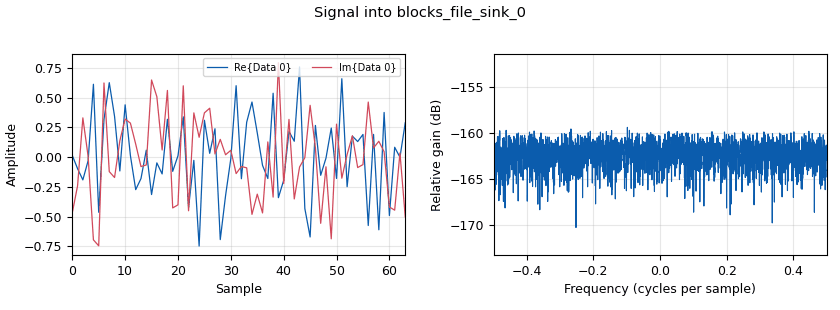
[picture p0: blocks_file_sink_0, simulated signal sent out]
<?xml version='1.0' encoding='utf-8'?>
<?grc format='1' created='3.7.13'?>
<flow_graph>
<block>
<key>options</key>
<param><key>id</key><value>generate_waveform_noise</value></param>
<param><key>generate_options</key><value>no_gui</value></param>
<param><key>run_options</key><value>run</value></param>
</block>
<block>
<key>variable</key>
<param><key>id</key><value>OFF</value></param>
<param><key>value</key><value>15*ON</value></param>
</block>
<block>
<key>variable</key>
<param><key>id</key><value>OFF_time</value></param>
<param><key>value</key><value>OFF/samp_rate</value></param>
</block>
<block>
<key>variable</key>
<param><key>id</key><value>ON</value></param>
<param><key>value</key><value>4096</value></param>
</block>
<block>
<key>variable</key>
<param><key>id</key><value>ON_time</value></param>
<param><key>value</key><value>ON/samp_rate</value></param>
</block>
<block>
<key>variable</key>
<param><key>id</key><value>duty_cycle</value></param>
<param><key>value</key><value>OFF/ON</value></param>
</block>
<block>
<key>variable</key>
<param><key>id</key><value>head</value></param>
<param><key>value</key><value>4096*16</value></param>
</block>
<block>
<key>variable</key>
<param><key>id</key><value>ring_buffer_size</value></param>
<param><key>value</key><value>4096</value></param>
</block>
<block>
<key>variable</key>
<param><key>id</key><value>samp_rate</value></param>
<param><key>value</key><value>7.68e6</value></param>
</block>
<block>
<key>analog_noise_source_x</key>
<param><key>id</key><value>analog_noise_source_x_0</value></param>
<param><key>amp</key><value>0.5</value></param>
<param><key>noise_type</key><value>analog.GR_GAUSSIAN</value></param>
<param><key>type</key><value>complex</value></param>
<param><key>seed</key><value>42</value></param>
</block>
<block>
<key>blocks_file_sink</key>
<param><key>id</key><value>blocks_file_sink_0</value></param>
<param><key>file</key><value>/home/kmakhija/catkin_ws/src/Drone-Project-code/Payload Computer/noise_kernel</value></param>
<param><key>type</key><value>complex</value></param>
</block>
<block>
<key>blocks_file_sink</key>
<param><key>id</key><value>blocks_file_sink_1</value></param>
<param><key>_enabled</key><value>0</value></param>
<param><key>file</key><value>/home/kmakhija/catkin_ws/src/Drone-Project-code/Payload Computer/noise</value></param>
<param><key>type</key><value>complex</value></param>
</block>
<block>
<key>blocks_file_source</key>
<param><key>id</key><value>blocks_file_source_0</value></param>
<param><key>_enabled</key><value>0</value></param>
<param><key>file</key><value>/home/kmakhija/catkin_ws/src/Drone-Project-code/Payload Computer/noise_kernel</value></param>
<param><key>type</key><value>complex</value></param>
<param><key>repeat</key><value>True</value></param>
</block>
<block>
<key>blocks_head</key>
<param><key>id</key><value>blocks_head_0</value></param>
<param><key>num_items</key><value>head</value></param>
<param><key>type</key><value>complex</value></param>
</block>
<block>
<key>blocks_head</key>
<param><key>id</key><value>blocks_head_0_0</value></param>
<param><key>_enabled</key><value>0</value></param>
<param><key>num_items</key><value>8200*512</value></param>
<param><key>type</key><value>complex</value></param>
</block>
<block>
<key>blocks_multiply_xx</key>
<param><key>id</key><value>blocks_multiply_xx_0</value></param>
<param><key>type</key><value>complex</value></param>
<param><key>maxoutbuf</key><value>ring_buffer_size</value></param>
<param><key>minoutbuf</key><value>ring_buffer_size</value></param>
</block>
<block>
<key>blocks_throttle</key>
<param><key>id</key><value>blocks_throttle_0</value></param>
<param><key>comment</key><value>This generates one pulse of noise. The blocks below
 (currently disabled) will duplicate these pulses 32x</value></param>
<param><key>samples_per_second</key><value>samp_rate</value></param>
<param><key>type</key><value>complex</value></param>
</block>
<block>
<key>blocks_throttle</key>
<param><key>id</key><value>blocks_throttle_0_0</value></param>
<param><key>comment</key><value>Run this section after running the above section</value></param>
<param><key>_enabled</key><value>0</value></param>
<param><key>samples_per_second</key><value>samp_rate</value></param>
<param><key>type</key><value>complex</value></param>
</block>
<block>
<key>blocks_vector_source_x</key>
<param><key>id</key><value>blocks_vector_source_x_0</value></param>
<param><key>maxoutbuf</key><value>ring_buffer_size</value></param>
<param><key>minoutbuf</key><value>ring_buffer_size</value></param>
<param><key>type</key><value>complex</value></param>
<param><key>repeat</key><value>True</value></param>
<param><key>vector</key><value>np.hstack((np.zeros(OFF), np.ones(ON)))</value></param>
</block>
<block>
<key>import</key>
<param><key>id</key><value>import_0</value></param>
<param><key>import</key><value>import numpy as np</value></param>
</block>
<connection><source_block_id>analog_noise_source_x_0</source_block_id><sink_block_id>blocks_multiply_xx_0</sink_block_id><source_key>0</source_key><sink_key>0</sink_key></connection>
<connection><source_block_id>blocks_file_source_0</source_block_id><sink_block_id>blocks_throttle_0_0</sink_block_id><source_key>0</source_key><sink_key>0</sink_key></connection>
<connection><source_block_id>blocks_head_0</source_block_id><sink_block_id>blocks_file_sink_0</sink_block_id><source_key>0</source_key><sink_key>0</sink_key></connection>
<connection><source_block_id>blocks_head_0_0</source_block_id><sink_block_id>blocks_file_sink_1</sink_block_id><source_key>0</source_key><sink_key>0</sink_key></connection>
<connection><source_block_id>blocks_multiply_xx_0</source_block_id><sink_block_id>blocks_throttle_0</sink_block_id><source_key>0</source_key><sink_key>0</sink_key></connection>
<connection><source_block_id>blocks_throttle_0</source_block_id><sink_block_id>blocks_head_0</sink_block_id><source_key>0</source_key><sink_key>0</sink_key></connection>
<connection><source_block_id>blocks_throttle_0_0</source_block_id><sink_block_id>blocks_head_0_0</sink_block_id><source_key>0</source_key><sink_key>0</sink_key></connection>
<connection><source_block_id>blocks_vector_source_x_0</source_block_id><sink_block_id>blocks_multiply_xx_0</sink_block_id><source_key>0</source_key><sink_key>1</sink_key></connection>
</flow_graph>
